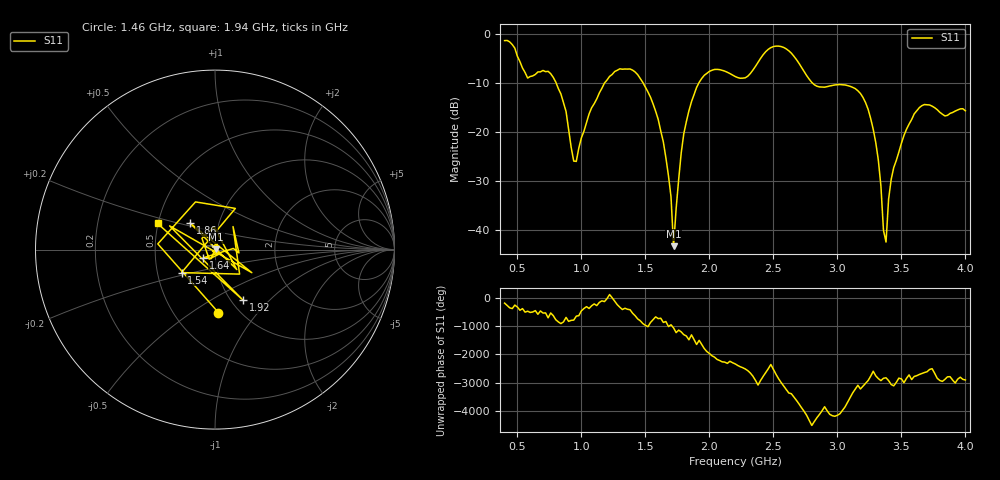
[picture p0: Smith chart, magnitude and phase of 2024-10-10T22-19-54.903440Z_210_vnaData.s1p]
! Created with skrf (http://scikit-rf.org).
# Hz S RI R 50.0
!freq ReS11 ImS11
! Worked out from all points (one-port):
!   181 points, 400 MHz to 4 GHz, reference 50 ohm
!   lowest |S11| = -43.3 dB at 1.72 GHz (marker M1), VSWR 1.01, Z = 50.6 + j0.269 ohm
!   |S11| at or under -10 dB: 802.7 MHz to 1.181 GHz (377.9 MHz wide, 38.1 % of centre); 1.482 GHz to 1.918 GHz (435.2 MHz wide, 25.6 % of centre); 2.805 GHz to end of sweep
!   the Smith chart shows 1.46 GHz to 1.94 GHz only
!   S11 on the Smith chart (normalised r, x): 1.46 GHz: 0.81, -0.65; 1.54 GHz: 0.67, -0.18; 1.64 GHz: 0.87, -0.08; 1.86 GHz: 0.73, +0.22; 1.92 GHz: 1.13, -0.71; 1.94 GHz: 0.50, +0.17
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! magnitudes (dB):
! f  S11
! 400 MHz  -1.4
! 580 MHz  -9.0
! 760 MHz  -8.1
! 860 MHz  -14.0
! 960 MHz  -26.0
! 1.08 GHz  -15.0
! 1.3 GHz  -7.1
! 1.46 GHz  -9.1
! 1.54 GHz  -12.9
! 1.64 GHz  -22.0
! 1.7 GHz  -33.2
! 1.72 GHz  -43.3
! 1.76 GHz  -29.6
! 1.8 GHz  -20.3
! 1.86 GHz  -13.8
! 1.92 GHz  -9.9
! 1.94 GHz  -9.1
! 2.2 GHz  -8.7
! 2.5 GHz  -2.6
! 2.66 GHz  -4.5
! 2.84 GHz  -10.7
! 3.1 GHz  -10.7
! 3.28 GHz  -19.5
! 3.38 GHz  -42.4
! 3.42 GHz  -29.7
! 3.56 GHz  -18.4
! 3.68 GHz  -14.4
! 4 GHz  -15.7
